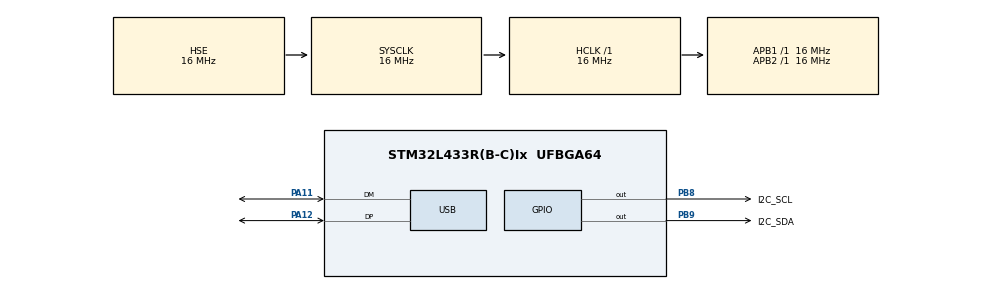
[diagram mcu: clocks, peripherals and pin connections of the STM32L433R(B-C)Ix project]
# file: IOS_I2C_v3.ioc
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Mcu.Family=STM32L4
Mcu.Name=STM32L433R(B-C)Ix
Mcu.Package=UFBGA64
NVIC.PriorityGroup=NVIC_PRIORITYGROUP_4
NVIC.USB_IRQn=true\:0\:0\:false\:false\:true\:false\:true\:true
PA11.Mode=Device
PA11.Signal=USB_DM
PA12.Mode=Device
PA12.Signal=USB_DP
PA13\ (JTMS-SWDIO).Mode=Serial_Wire
PA13\ (JTMS-SWDIO).Signal=SYS_JTMS-SWDIO
PA14\ (JTCK-SWCLK).Mode=Serial_Wire
PA14\ (JTCK-SWCLK).Signal=SYS_JTCK-SWCLK
PB8.GPIO_Label=I2C_SCL
PB8.GPIO_ModeDefaultOutputPP=GPIO_MODE_OUTPUT_OD
PB8.GPIO_PuPd=GPIO_PULLUP
PB8.Signal=GPIO_Output
PB9.GPIO_Label=I2C_SDA
PB9.GPIO_ModeDefaultOutputPP=GPIO_MODE_OUTPUT_OD
PB9.GPIO_PuPd=GPIO_PULLUP
PB9.Signal=GPIO_Output
PH0-OSC_IN\ (PH0).Mode=HSE-External-Oscillator
PH0-OSC_IN\ (PH0).Signal=RCC_OSC_IN
PH1-OSC_OUT\ (PH1).Mode=HSE-External-Oscillator
PH1-OSC_OUT\ (PH1).Signal=RCC_OSC_OUT
ProjectManager.HeapSize=0x200
ProjectManager.StackSize=0x400
ProjectManager.TargetToolchain=STM32CubeIDE
RCC.ADCFreq_Value=64000000
RCC.AHBFreq_Value=16000000
RCC.APB1Freq_Value=16000000
RCC.APB1TimFreq_Value=16000000
RCC.APB2Freq_Value=16000000
RCC.APB2TimFreq_Value=16000000
RCC.CK48CLockSelection=RCC_USBCLKSOURCE_HSI48
RCC.CortexFreq_Value=16000000
RCC.HCLKFreq_Value=16000000
RCC.HSE_VALUE=16000000
RCC.HSI48_VALUE=48000000
RCC.HSI_VALUE=16000000
RCC.LSE_VALUE=32768
RCC.MSIClockRange=RCC_MSIRANGE_0
RCC.MSI_VALUE=100000
RCC.PLLSourceVirtual=RCC_PLLSOURCE_HSE
RCC.SYSCLKFreq_VALUE=16000000
RCC.SYSCLKSource=RCC_SYSCLKSOURCE_HSE
RCC.USBFreq_Value=48000000
RCC.VCOOutputFreq_Value=128000000
USB.Sof_enable=ENABLE
USB_DEVICE.CLASS_NAME_FS=CDC
USB_DEVICE.VirtualMode=Cdc
USB_DEVICE.VirtualModeFS=Cdc_FS
VP_USB_DEVICE_VS_USB_DEVICE_CDC_FS.Mode=CDC_FS
board=custom

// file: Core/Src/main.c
/* USER CODE BEGIN Header */
/**
  ******************************************************************************
  * @file           : main.c
  * @brief          : Main program body
  ******************************************************************************
  * @attention
  *
  * Copyright (c) 2024 STMicroelectronics.
  * All rights reserved.
  *
  * This software is licensed under terms that can be found in the LICENSE file
  * in the root directory of this software component.
  * If no LICENSE file comes with this software, it is provided AS-IS.
  *
  ******************************************************************************
  */
/* USER CODE END Header */
#include "main.h"
#include "usb_device.h"

/* USER CODE BEGIN Includes */
#include "i2c_emulator.h"
#include "usbd_core.h"
#include "usbd_cdc_if.h"
/* USER CODE END Includes */

/* USER CODE BEGIN PTD */

//Kodun daha anlaşılır olması için sayısal değerleri enum ile tanımladık. Bu değerler MFi dökümanına göre girildi.

enum ControlByte {
  SYN = 0x80,
  ACK = 0x40,
  EAK = 0x20,
  RST = 0x10,
  SLP = 0x08
};

enum AccessoryState {
  SUPPORT,
  LINK,
  CONTROL_SESSION,
  SESSION
};

enum AuthenticationState {
 RequestCertificate=0x00,
 RequestResponse=0x02,
 AuthFail=0x04,
 AuthSuccess=0x05
};

/*
 Bu struct yapısı debugging yaparken transmit edilen paketleri rahat görmek için oluşturuldu.
Certificate büyüklüğü 607 ile 609 arasında, oaket oluşturulunca sığması için 650 lik array kullandık.
Device tarafından gönderilen değerler de benzer bir şekilde kaydediliyor, ancak bu işlem usbd_cdc_if.c dosyasında
Receive fonksiyonu içinde yapılıyor.
*/
typedef  struct
{
    uint8_t packet[650];

}  DebugAccessoryStruct;

DebugAccessoryStruct AccessoryPackets[20];
uint8_t accessoryCount=0;
uint16_t cert_size_num;
/*
memcpy(&((AccessoryPackets[accessoryCount]).packet), iap2_link_packet_structure, packet_size);
accessoryCount++;

memcpy(&((DevicePackets[deviceCount]).packet), ReceiveBuffer, 64);
deviceCount++;
*/

/* USER CODE END PTD */

/* USER CODE BEGIN PD */
#define true 1
#define false 0

#define SDA_ON (HAL_GPIO_WritePin(I2C_SDA_GPIO_Port, I2C_SDA_Pin, GPIO_PIN_SET))
#define SDA_OFF (HAL_GPIO_WritePin(I2C_SDA_GPIO_Port, I2C_SDA_Pin, GPIO_PIN_RESET))
#define SCL_ON (HAL_GPIO_WritePin(I2C_SCL_GPIO_Port, I2C_SCL_Pin, GPIO_PIN_SET))
#define SCL_OFF (HAL_GPIO_WritePin(I2C_SCL_GPIO_Port, I2C_SCL_Pin, GPIO_PIN_RESET))

/* USER CODE END PD */

/* USER CODE BEGIN PM */
uint8_t ReceiveBuffer[64]={0};
uint8_t * iap2_link_packet_structure;
uint8_t * iap2_session_payload;
uint8_t * parameter_payload;
uint8_t parsed_payload[32]={0};
uint8_t challengeResponse[64]={0};
volatile uint8_t packet_seq_num = 0x05;
volatile uint8_t packet_ack_num = 0x00;
volatile uint8_t device_seq_num=0x00;
//link seknronizasyonu için payload, dökümandaki default değerler girildi.
uint8_t link_sync_payload[]={0x01, 0x05, 0x10, 0x00, 0x07, 0xD0, 0x00, 0x16, 0x1E, 0x03,
                             0x0A, 0x00, 0x01, 0x0B, 0x02, 0x01};
/*
iap2 protokolünde fiziksel katman USB CDC dir. Bunun üzerinde link katmanı
yani link paketleri var. USB CDC Full Speed için maximum paket boyutu 64 byte, ancak link paketleri daha uzun
olması sorun değil sistem onları 64 olarak ayırarak low level da gönderiyor.

Link katmanında, link synchronization için senkronizasyon datası doğrudan payload olarak verilebilir.
 Link paketinin payload kısmı
*/
uint8_t iap2_packet[100]={0};
uint16_t packet_size;
uint16_t parameter_size;
uint16_t session_size;
volatile uint8_t accessoryState;
uint8_t check_flag=false;

uint16_t received_packet_length;
uint16_t received_payload_length;

uint8_t header_checksum;
uint8_t payload_checksum;

/* USER CODE END PM */

/* USER CODE BEGIN PV */
volatile uint8_t i2c_test1=false;
volatile uint8_t i2c_test2=false;
volatile uint8_t inside_flag=false;
volatile uint32_t delay;
uint8_t target_address=0x10;

uint8_t certificate_size[2]={0};
uint8_t * certificate;

uint8_t data_size;
uint8_t cert_buf[800]={0};

/* USER CODE END PV */

void SystemClock_Config(void);
static void MX_GPIO_Init(void);
/* USER CODE BEGIN PFP */
uint8_t checksum_calculation(uint8_t *, uint16_t, uint16_t);
uint16_t create_packet(uint8_t, uint8_t *, uint16_t, uint8_t);
uint16_t create_parameter(uint16_t, uint8_t *, uint16_t);
uint16_t create_session_payload(uint16_t, uint8_t *, uint16_t);
void parse_control_session_payload(uint8_t *);
/* USER CODE END PFP */

/* USER CODE BEGIN 0 */
uint8_t data[]= {0xFF,0x55,0x02, 0x00,0xEE,0x10};
volatile uint8_t configured_flag=false;
extern USBD_HandleTypeDef hUsbDeviceFS;

/* USER CODE END 0 */

int main(void)
{

  /* USER CODE BEGIN 1 */
  accessoryState=SUPPORT;

  /* USER CODE END 1 */

  /* MCU Configuration--------------------------------------------------------*/

  /* Reset of all peripherals, Initializes the Flash interface and the Systick. */
  HAL_Init();

  /* USER CODE BEGIN Init */
  I2C_Init(I2C_CP3_MODE);
  /* USER CODE END Init */

  /* Configure the system clock */
  SystemClock_Config();

  /* Initialize all configured peripherals */
  MX_GPIO_Init();
  MX_USB_DEVICE_Init();
  /* USER CODE BEGIN 2 */

  /*
   *
    I2C_Start();
  Tx(0x10);
  if(I2C_Read_SDA()==0){
  	  Tx(0x00);
  	  if(I2C_Read_SDA()==0){
    	     I2C_Stop();
    	     I2C_Start();
    	     Tx(0x11);
    	     if(I2C_Read_SDA()==0){
               challengeResponse[0]=Rx(1);
        	     I2C_Stop();
    	  	    }
  	    }
    }
for(int i=0; i<32; i++){
  		parsed_payload[i]=i*3;
  }

  I2C_Start();
  HAL_Delay(10);
  for(int i=0; i<32; i++){

	  Tx((target_address<<1)|0x00); //write to CP
	  Tx(0x21);
  	  Tx(parsed_payload[i]);

  }
  I2C_Stop();
  HAL_Delay(4000);
  i2c_test2=I2C_Receive(target_address, 0x12, challengeResponse, 64);

  */
  //şu anda i2c kısmı problemli olduğu için certificate önceden alıyoruz.
  //çünkü certificate için request gelince belirli süre içinde göndermek gerekiyor.
  //

  HAL_Delay(2000);
  i2c_test1=I2C_Receive(target_address,0x30,certificate_size,2);
  cert_size_num = (((uint16_t) (certificate_size[0])<<8)) + ((uint16_t) certificate_size[1]);
  certificate = (uint8_t*)calloc(cert_size_num, sizeof(uint8_t));
  HAL_Delay(4000);
  i2c_test2=I2C_Receive(target_address,0x31, certificate, 128);
  HAL_Delay(4000);
  i2c_test2=I2C_Receive(target_address,0x32, certificate+128, 128);
  HAL_Delay(4000);
  i2c_test2=I2C_Receive(target_address,0x33, certificate+256, 128);
  HAL_Delay(4000);
  i2c_test2=I2C_Receive(target_address,0x34, certificate+384, 128);
  HAL_Delay(4000);
  i2c_test2=I2C_Receive(target_address,0x35, certificate+512, 96);

  /*
  for(int i=0; i<round; i++){
	  HAL_Delay(4000);
	  i2c_test2=I2C_Receive(target_address,0x31+i, certificate+(128*round), 128);
  }
  i2c_test2=I2C_Receive(target_address, 0x31+round, certificate+(round)*128, cert_size_num - (round*128));
  */
  memcpy(cert_buf, certificate, cert_size_num);

  /* USER CODE END 2 */

  /* Infinite loop */
  while (1)
  {

    /* USER CODE BEGIN 3 */
	switch(accessoryState){
	case SUPPORT:
		if(ReceiveBuffer[0]==0){
			CDC_Transmit_FS(data, sizeof(data));
		    memcpy(&((AccessoryPackets[accessoryCount]).packet), data, sizeof(data));
		    accessoryCount++;
		    HAL_Delay(1000);
		}else{
		    accessoryState=LINK;
		         //----version---check---iAP2
			    for(int i=0; i<6; i++){
			    	 if(ReceiveBuffer[i]!=data[i]){
			    		 accessoryState=SUPPORT;
			    		   break;
			    		 }
			    	 }
		   memset (ReceiveBuffer, 0, 64);  // clear the buffer
		}
	    break;
	case LINK:
	  if(ReceiveBuffer[0]==0){
	  packet_size=create_packet(SYN, link_sync_payload, sizeof(link_sync_payload),0);
	  CDC_Transmit_FS(iap2_link_packet_structure, packet_size);
	  memcpy(&((AccessoryPackets[accessoryCount]).packet), iap2_link_packet_structure, packet_size);
	  accessoryCount++;
	  HAL_Delay(1000);
		}else{

			header_checksum=(checksum_calculation(ReceiveBuffer,0,8)==ReceiveBuffer[8]);
			received_packet_length = (((uint16_t) (ReceiveBuffer[2])<<8)) + ((uint16_t) ReceiveBuffer[3]);
			if(received_packet_length>9){
				received_payload_length=received_packet_length-10;
				payload_checksum=(checksum_calculation(ReceiveBuffer,9,received_payload_length)==ReceiveBuffer[received_packet_length-1]);
			}else{
				received_payload_length=0;
				payload_checksum=1;
			}

			//---Checksum-&-SYN+ACK--control---
		     if(header_checksum && payload_checksum && (ReceiveBuffer[4]==0xC0)){

		    //Transmission parameters negotiation check--ignore "maximum number of outstanding packets" (not negotiable)
		     for(int i=0; i<16; i++){
		    	                     // non-negotiable dışındaki parametrelerin uyuşması kontrolü, terslik varsa link durumuna geri dön
		    				    	 if((ReceiveBuffer[9+i]!=link_sync_payload[i]) && (i!=1 && i!=2 && i!=3)){
		    				    		 accessoryState=LINK;
		    				    		 memset (ReceiveBuffer, 0, 64);  // clear the buffer
		    				    		 break;
		    				    		 }
		    				    	 }
			 packet_ack_num=ReceiveBuffer[5];
		     uint8_t empty[]={0};
		     memset (ReceiveBuffer, 0, 64);  // clear the buffer
		     // transmission parametreleri uyuşuyor. control session durumuna geçilebilir. ACK yolla. State güncelle.
		     packet_size=create_packet(ACK, empty, 0, 0);
			 CDC_Transmit_FS(iap2_link_packet_structure, packet_size);
			 memcpy(&((AccessoryPackets[accessoryCount]).packet), iap2_link_packet_structure, packet_size);
			 accessoryCount++;// Debug için paketi kaydediyoruz
			 accessoryState=CONTROL_SESSION;

		     }else{

		    	//packet corrupted or different transmission parameters
		     }

		}

	  break;

	case CONTROL_SESSION:
		if(ReceiveBuffer[13] == 0xAA){
			if(ReceiveBuffer[14] == RequestCertificate){
				        packet_ack_num=ReceiveBuffer[5];
				        parameter_size = create_parameter(0x0000, certificate, cert_size_num);
				        session_size = create_session_payload(0xAA01, parameter_payload, parameter_size);
					    packet_size=create_packet(ACK, iap2_session_payload, session_size, 10);
					    memset (ReceiveBuffer, 0, 64);  // clear the buffer

					    CDC_Transmit_FS(iap2_link_packet_structure, packet_size);
					    memcpy(&((AccessoryPackets[accessoryCount]).packet), iap2_link_packet_structure, packet_size);
					    accessoryCount++; // Debug için paketi kaydediyoruz.

				}else if(ReceiveBuffer[14] == RequestResponse){ //check if challenge arrived
			    	packet_ack_num=ReceiveBuffer[5];
			    	parse_control_session_payload(ReceiveBuffer);
			    	// buradan sonrası sıkıntılı!!!! i2c ile challenge data gönderip response alma
			    	I2C_Start();
			    	Tx((target_address<<1)|0x00); //write to CP
			    	Tx(0x20);
			    	Tx(0x00);
			    	Tx(0x40);
			    	Tx(0x21);
			    	for(int i=0; i<32; i++){
				    	Tx(parsed_payload[i]);
			    	}
			    	I2C_Stop();
			  	    HAL_Delay(1000);
			    	i2c_test2=I2C_Receive(target_address, 0x12, challengeResponse, 64);
			        parameter_size = create_parameter(0x0000, challengeResponse, 64);
			    	session_size = create_session_payload(0xAA03, parameter_payload, parameter_size);
			    	packet_size=create_packet(ACK, iap2_session_payload, session_size, 10);
					CDC_Transmit_FS(iap2_link_packet_structure, packet_size);
				    memcpy(&((AccessoryPackets[accessoryCount]).packet), iap2_link_packet_structure, packet_size);
				    accessoryCount++;
			    } else if(ReceiveBuffer[14] == AuthSuccess){
		    		accessoryState=SESSION;
		    	} else{

		    	}

		}

	  break;

	case SESSION:

	  break;

	}

  }
  /* USER CODE END 3 */
}

void SystemClock_Config(void)
{
  RCC_OscInitTypeDef RCC_OscInitStruct = {0};
  RCC_ClkInitTypeDef RCC_ClkInitStruct = {0};

  /** Configure the main internal regulator output voltage
  */
  if (HAL_PWREx_ControlVoltageScaling(PWR_REGULATOR_VOLTAGE_SCALE1) != HAL_OK)
  {
    Error_Handler();
  }

  /** Initializes the RCC Oscillators according to the specified parameters
  * in the RCC_OscInitTypeDef structure.
  */
  RCC_OscInitStruct.OscillatorType = RCC_OSCILLATORTYPE_HSI48|RCC_OSCILLATORTYPE_HSE;
  RCC_OscInitStruct.HSEState = RCC_HSE_ON;
  RCC_OscInitStruct.HSI48State = RCC_HSI48_ON;
  RCC_OscInitStruct.PLL.PLLState = RCC_PLL_NONE;
  if (HAL_RCC_OscConfig(&RCC_OscInitStruct) != HAL_OK)
  {
    Error_Handler();
  }

  /** Initializes the CPU, AHB and APB buses clocks
  */
  RCC_ClkInitStruct.ClockType = RCC_CLOCKTYPE_HCLK|RCC_CLOCKTYPE_SYSCLK
                              |RCC_CLOCKTYPE_PCLK1|RCC_CLOCKTYPE_PCLK2;
  RCC_ClkInitStruct.SYSCLKSource = RCC_SYSCLKSOURCE_HSE;
  RCC_ClkInitStruct.AHBCLKDivider = RCC_SYSCLK_DIV1;
  RCC_ClkInitStruct.APB1CLKDivider = RCC_HCLK_DIV1;
  RCC_ClkInitStruct.APB2CLKDivider = RCC_HCLK_DIV1;

  if (HAL_RCC_ClockConfig(&RCC_ClkInitStruct, FLASH_LATENCY_0) != HAL_OK)
  {
    Error_Handler();
  }
}

static void MX_GPIO_Init(void)
{
  GPIO_InitTypeDef GPIO_InitStruct = {0};

  /* GPIO Ports Clock Enable */
  __HAL_RCC_GPIOB_CLK_ENABLE();
  __HAL_RCC_GPIOA_CLK_ENABLE();
  __HAL_RCC_GPIOH_CLK_ENABLE();

  /*Configure GPIO pin Output Level */
  HAL_GPIO_WritePin(GPIOB, I2C_SDA_Pin|I2C_SCL_Pin, GPIO_PIN_RESET);

  /*Configure GPIO pins : I2C_SDA_Pin I2C_SCL_Pin */
  GPIO_InitStruct.Pin = I2C_SDA_Pin|I2C_SCL_Pin;
  GPIO_InitStruct.Mode = GPIO_MODE_OUTPUT_OD;
  GPIO_InitStruct.Pull = GPIO_PULLUP;
  GPIO_InitStruct.Speed = GPIO_SPEED_FREQ_LOW;
  HAL_GPIO_Init(GPIOB, &GPIO_InitStruct);

}

/* USER CODE BEGIN 4 */

//------------------I2C------BITBANGING---------CODE--------

void dly(){
	for (uint32_t i = 0; i < delay; i++){
	__ASM ("NOP");
	}
}

void I2C_Init(int mode) {

	SDA_ON;
	SCL_ON;
	delay = mode;

}

void I2C_Start(){
    SDA_ON;
    dly();
    SCL_ON;
    dly();
    SDA_OFF;
    dly();
    SCL_OFF;
    dly();
}

/*  i2c stop sequence */
void I2C_Stop(){
    SDA_OFF;
    dly();
    SCL_ON;
    dly();
    SDA_ON;
    dly();
}

uint8_t I2C_Read_SDA(void) {

	if (HAL_GPIO_ReadPin(I2C_SDA_GPIO_Port, I2C_SDA_Pin) == GPIO_PIN_SET) {
		return 1;
	} else {
		return 0;
	}
}

uint8_t I2C_Read_SCL(void) {

	if (HAL_GPIO_ReadPin(I2C_SCL_GPIO_Port, I2C_SCL_Pin) == GPIO_PIN_SET) {
		return 1;
	} else {
		return 0;
	}
}

/* Transmit 8 bit data to slave */
_Bool Tx(uint8_t dat){

    for(uint8_t i = 8; i; i--){
        (dat & 0x80) ? SDA_ON : SDA_OFF; //Mask for the eigth bit
        dat<<=1;  //Move
        dly();
        SCL_ON;
        dly();
        SCL_OFF;
        dly();
    }
    SDA_ON;
    SCL_ON;
    dly();
    _Bool ack = (I2C_Read_SDA()==0);    // Acknowledge bit
    SCL_OFF;
    return ack;
}

uint8_t Rx(_Bool ack){
    uint8_t dat = 0;
    SDA_ON;
    for( uint8_t i =0; i<8; i++){
        dat <<= 1;
        do{
            SCL_ON;
        }while(I2C_Read_SCL() == 0);  //clock stretching
        dly();
        if(I2C_Read_SDA()) dat |=1;
        dly();
        SCL_OFF;
    }
    ack ? SDA_OFF : SDA_ON;
    SCL_ON;
    dly();
    SCL_OFF;
    SDA_ON;
    return(dat);
}

_Bool I2C_Receive(uint8_t address, uint8_t reg, uint8_t *data, uint8_t size) {
	I2C_Start();
	if (Tx(address<<1)) {
		if(Tx(reg)){
			I2C_Stop();
			} else{
				return 0;
			}
		}else{
			return 0;
		}

	I2C_Start();
	if (Tx(address << 1 | 0x01)){ //start again, send address, read (LSB signifies R/W

			for (int j = 0; j < size; j++) {
				*data++ = Rx(1);
			}

			I2C_Stop();
			return true;
		}else{
			return false;
		}

}

//------iAP2 Checksum-------

uint8_t
checksum_calculation(uint8_t *buffer, uint16_t start, uint16_t length)
{
uint16_t i;
uint8_t sum = 0;
for (i = start; i < (start + length); i++) {
sum += buffer[i];
}
return (uint8_t)(0x100 - sum); /* 2's complement */
}

uint16_t create_packet(uint8_t ctrl_byte, uint8_t * payload, uint16_t payload_size, uint8_t session_identifier){
	uint16_t size;

	if(payload_size){
		size=10+payload_size;
	}else{
		size=9;
	}

	iap2_link_packet_structure = (uint8_t*)calloc(size, sizeof(uint8_t));
    if(iap2_link_packet_structure != NULL){ //Null pointer check

    	iap2_link_packet_structure[0]=0xFF;
    	iap2_link_packet_structure[1]=0x5A;
    	iap2_link_packet_structure[2]=(uint8_t) (size >> 8);
    	iap2_link_packet_structure[3]= (uint8_t) (size  & 0x00FF);
    	iap2_link_packet_structure[4]=ctrl_byte;
    	iap2_link_packet_structure[5]=packet_seq_num;
    	if(ctrl_byte & 0x40){ // check if ACK bit set
            iap2_link_packet_structure[6]=packet_ack_num;
    	}else{
            iap2_link_packet_structure[6]=0;
    	}
    	iap2_link_packet_structure[7]=session_identifier;
    	iap2_link_packet_structure[8]=checksum_calculation(iap2_link_packet_structure,0, 8);
        for(int i=0; i<payload_size; i++){
        	iap2_link_packet_structure[9+i]=payload[i];
        }
        if(payload_size!=0){
          iap2_link_packet_structure[size-1]=checksum_calculation(payload, 0, payload_size);
          packet_seq_num++;
        }

    }

    memcpy(&((AccessoryPackets[accessoryCount]).packet), iap2_link_packet_structure, size);
    accessoryCount++;

    return size;

}

uint16_t create_session_payload(uint16_t message_id, uint8_t * payload, uint16_t payload_size){
	    uint16_t size = payload_size + 6;

	    iap2_session_payload = (uint8_t*)calloc(size, sizeof(uint8_t));
	    if(parameter_payload != NULL){ //Null pointer check

	    	iap2_session_payload[0] = 0x40;
	    		iap2_session_payload[1] = 0x40;
	    		iap2_session_payload[2]=(uint8_t) (size >> 8);
	    		iap2_session_payload[3]= (uint8_t) (size  & 0x00FF);
	    		iap2_session_payload[4]=(uint8_t) (message_id >> 8);
	    		iap2_session_payload[5]= (uint8_t) (message_id  & 0x00FF);
	    		 for(int i=0; i<payload_size; i++){
	    			 iap2_session_payload[6+i]=payload[i];
	    				        }
	    }

		return size;

}

uint16_t create_parameter(uint16_t parameter_id, uint8_t * payload, uint16_t payload_size){
	    uint16_t size = payload_size + 4;

	    parameter_payload = (uint8_t*)calloc(size, sizeof(uint8_t));

	    if(parameter_payload != NULL){ //Null pointer check
	    	 parameter_payload[0]=(uint8_t) (size >> 8);
	    		    parameter_payload[1]= (uint8_t) (size  & 0x00FF);
	    		    parameter_payload[2]= (uint8_t) (parameter_id >> 8);
	    		    parameter_payload[3]= (uint8_t) (parameter_id  & 0x00FF);
	    			 for(int i=0; i<payload_size; i++){
	    				       parameter_payload[4+i]=payload[i];
    			        }

	    }else{

	    }

		 return size;
}

void parse_control_session_payload(uint8_t *packet){
	  uint16_t parsed_payload_size = packet[12]-10;
	  //parsed_payload = (uint8_t*)calloc(parsed_payload_size, sizeof(uint8_t));
	  memcpy(parsed_payload, packet+19, parsed_payload_size);

}

/* USER CODE END 4 */

void Error_Handler(void)
{
  __disable_irq();
  while (1)
  {
  }
}
